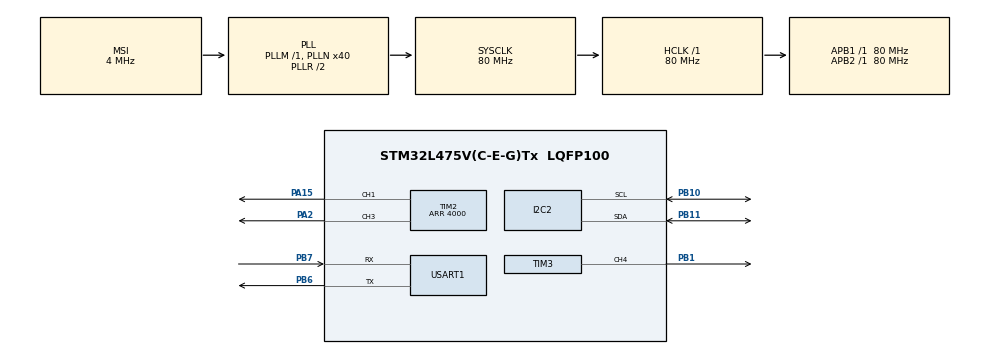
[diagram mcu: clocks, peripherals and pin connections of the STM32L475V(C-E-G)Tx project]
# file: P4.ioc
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I2C2.Timing=0x10909CEC
Mcu.Family=STM32L4
Mcu.Name=STM32L475V(C-E-G)Tx
Mcu.Package=LQFP100
NVIC.PriorityGroup=NVIC_PRIORITYGROUP_4
PA15\ (JTDI).Signal=S_TIM2_CH1
PA2.Signal=S_TIM2_CH3
PB1.Signal=S_TIM3_CH4
PB10.Mode=I2C
PB10.Signal=I2C2_SCL
PB11.Mode=I2C
PB11.Signal=I2C2_SDA
PB6.Mode=Asynchronous
PB6.Signal=USART1_TX
PB7.Mode=Asynchronous
PB7.Signal=USART1_RX
ProjectManager.HeapSize=0x200
ProjectManager.StackSize=0x400
ProjectManager.TargetToolchain=STM32CubeIDE
RCC.AHBFreq_Value=80000000
RCC.APB1Freq_Value=80000000
RCC.APB1TimFreq_Value=80000000
RCC.APB2Freq_Value=80000000
RCC.APB2TimFreq_Value=80000000
RCC.CortexFreq_Value=80000000
RCC.HCLKFreq_Value=80000000
RCC.HSE_VALUE=8000000
RCC.HSI_VALUE=16000000
RCC.LSE_VALUE=32768
RCC.MSI_VALUE=4000000
RCC.PLLN=40
RCC.SYSCLKFreq_VALUE=80000000
RCC.SYSCLKSource=RCC_SYSCLKSOURCE_PLLCLK
RCC.VCOOutputFreq_Value=160000000
SH.S_TIM2_CH1.0=TIM2_CH1,PWM Generation1 CH1
SH.S_TIM2_CH3.0=TIM2_CH3,PWM Generation3 CH3
SH.S_TIM3_CH4.0=TIM3_CH4,PWM Generation4 CH4
TIM2.Channel-PWM\ Generation1\ CH1=TIM_CHANNEL_1
TIM2.Channel-PWM\ Generation3\ CH3=TIM_CHANNEL_3
TIM2.Period=4000
TIM3.Channel-PWM\ Generation4\ CH4=TIM_CHANNEL_4
TIM3.Period=20000
TIM3.Prescaler=79
USART1.VirtualMode-Asynchronous=VM_ASYNC
board=custom

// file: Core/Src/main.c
/* USER CODE BEGIN Header */
/**
  ******************************************************************************
  * @file           : main.c
  * @brief          : Main program body
  ******************************************************************************
  * @attention
  *
  * <h2><center>&copy; Copyright (c) 2021 STMicroelectronics.
  * All rights reserved.</center></h2>
  *
  * This software component is licensed by ST under BSD 3-Clause license,
  * the "License"; You may not use this file except in compliance with the
  * License. You may obtain a copy of the License at:
  *                        opensource.org/licenses/BSD-3-Clause
  *
  ******************************************************************************
  */
/* USER CODE END Header */

#include "main.h"

/* USER CODE BEGIN PM */
int16_t readAccel(uint8_t axxis);
void setServoPos(float grados);
/* USER CODE END PM */

I2C_HandleTypeDef hi2c2;

TIM_HandleTypeDef htim2;
TIM_HandleTypeDef htim3;

UART_HandleTypeDef huart1;

void SystemClock_Config(void);
static void MX_GPIO_Init(void);
static void MX_I2C2_Init(void);
static void MX_TIM2_Init(void);
static void MX_TIM3_Init(void);
static void MX_USART1_UART_Init(void);

int main(void)
{

  /* MCU Configuration--------------------------------------------------------*/

  /* Reset of all peripherals, Initializes the Flash interface and the Systick. */
  HAL_Init();

  /* Configure the system clock */
  SystemClock_Config();

  /* Initialize all configured peripherals */
  MX_GPIO_Init();
  MX_I2C2_Init();
  MX_TIM2_Init();
  MX_TIM3_Init();
  MX_USART1_UART_Init();
  /* USER CODE BEGIN 2 */
  HAL_TIM_PWM_Start (&htim2, TIM_CHANNEL_1);
  HAL_TIM_PWM_Start (&htim2, TIM_CHANNEL_3);
  HAL_TIM_PWM_Start (&htim3, TIM_CHANNEL_4);
  initAccelerometer();
  /* USER CODE END 2 */

  /* Infinite loop */
  while (1)
  {

    /* USER CODE BEGIN 3 */
	  //Fase 1 Prueba inicial
	  uint16_t th;
//	  for(th = 0; th < 4000; th+= 100){
//	  	__HAL_TIM_SET_COMPARE(&htim2, TIM_CHANNEL_1, th);
//	  	HAL_Delay(200);
//	  }

	  //Fase 1 Funcion setMotorSpeed()
	  int16_t speed;
//	  for(speed = 0; speed < 4000; speed+= 100){
//		 setMotorSpeed(speed);
//		 HAL_Delay(200);
//	  }
//	  for(speed = 4000; speed > 0; speed-= 100){
//		 setMotorSpeed(speed);
//		 HAL_Delay(200);
//	  }
//	  for(speed = 0; speed > -4000; speed-= 100){
//		 setMotorSpeed(speed);
//		 HAL_Delay(200);
//	  }
//	  for(speed = -4000; speed < 0; speed+= 100){
//		 setMotorSpeed(speed);
//		 HAL_Delay(200);
//	 }

	 //Fase 2 Acelerometro motor
//	 speed = readAccel(1);
//	 setMotorSpeed(speed*4);
//	 HAL_Delay(100);

	 //Fase 3 Prueba servo
	  uint16_t servo;
//	  for(servo=500; servo<=2500; servo+=250){
//		  __HAL_TIM_SET_COMPARE(&htim3, TIM_CHANNEL_4, servo);
//		  HAL_Delay(500);
//	  }

	 //Fase 3 Funcion setServoPos()
	  float grados;
//	  for(grados=0; grados<180; grados+=10){
//		  setServoPos(grados);
//		  HAL_Delay(500);
//	  }

	  //Fase 3 Acelerometro servo
	  grados = readAccel(0);
	  setServoPos(((grados + 1000)*180.0f)/2000);
	  HAL_Delay(100);

  }

  /* USER CODE END 3 */
}

void SystemClock_Config(void)
{
  RCC_OscInitTypeDef RCC_OscInitStruct = {0};
  RCC_ClkInitTypeDef RCC_ClkInitStruct = {0};
  RCC_PeriphCLKInitTypeDef PeriphClkInit = {0};

  /** Initializes the CPU, AHB and APB busses clocks
  */
  RCC_OscInitStruct.OscillatorType = RCC_OSCILLATORTYPE_MSI;
  RCC_OscInitStruct.MSIState = RCC_MSI_ON;
  RCC_OscInitStruct.MSICalibrationValue = 0;
  RCC_OscInitStruct.MSIClockRange = RCC_MSIRANGE_6;
  RCC_OscInitStruct.PLL.PLLState = RCC_PLL_ON;
  RCC_OscInitStruct.PLL.PLLSource = RCC_PLLSOURCE_MSI;
  RCC_OscInitStruct.PLL.PLLM = 1;
  RCC_OscInitStruct.PLL.PLLN = 40;
  RCC_OscInitStruct.PLL.PLLP = RCC_PLLP_DIV7;
  RCC_OscInitStruct.PLL.PLLQ = RCC_PLLQ_DIV2;
  RCC_OscInitStruct.PLL.PLLR = RCC_PLLR_DIV2;
  if (HAL_RCC_OscConfig(&RCC_OscInitStruct) != HAL_OK)
  {
    Error_Handler();
  }
  /** Initializes the CPU, AHB and APB busses clocks
  */
  RCC_ClkInitStruct.ClockType = RCC_CLOCKTYPE_HCLK|RCC_CLOCKTYPE_SYSCLK
                              |RCC_CLOCKTYPE_PCLK1|RCC_CLOCKTYPE_PCLK2;
  RCC_ClkInitStruct.SYSCLKSource = RCC_SYSCLKSOURCE_PLLCLK;
  RCC_ClkInitStruct.AHBCLKDivider = RCC_SYSCLK_DIV1;
  RCC_ClkInitStruct.APB1CLKDivider = RCC_HCLK_DIV1;
  RCC_ClkInitStruct.APB2CLKDivider = RCC_HCLK_DIV1;

  if (HAL_RCC_ClockConfig(&RCC_ClkInitStruct, FLASH_LATENCY_4) != HAL_OK)
  {
    Error_Handler();
  }
  PeriphClkInit.PeriphClockSelection = RCC_PERIPHCLK_USART1|RCC_PERIPHCLK_I2C2;
  PeriphClkInit.Usart1ClockSelection = RCC_USART1CLKSOURCE_PCLK2;
  PeriphClkInit.I2c2ClockSelection = RCC_I2C2CLKSOURCE_PCLK1;
  if (HAL_RCCEx_PeriphCLKConfig(&PeriphClkInit) != HAL_OK)
  {
    Error_Handler();
  }
  /** Configure the main internal regulator output voltage
  */
  if (HAL_PWREx_ControlVoltageScaling(PWR_REGULATOR_VOLTAGE_SCALE1) != HAL_OK)
  {
    Error_Handler();
  }
}

static void MX_I2C2_Init(void)
{

  hi2c2.Instance = I2C2;
  hi2c2.Init.Timing = 0x10909CEC;
  hi2c2.Init.OwnAddress1 = 0;
  hi2c2.Init.AddressingMode = I2C_ADDRESSINGMODE_7BIT;
  hi2c2.Init.DualAddressMode = I2C_DUALADDRESS_DISABLE;
  hi2c2.Init.OwnAddress2 = 0;
  hi2c2.Init.OwnAddress2Masks = I2C_OA2_NOMASK;
  hi2c2.Init.GeneralCallMode = I2C_GENERALCALL_DISABLE;
  hi2c2.Init.NoStretchMode = I2C_NOSTRETCH_DISABLE;
  if (HAL_I2C_Init(&hi2c2) != HAL_OK)
  {
    Error_Handler();
  }
  /** Configure Analogue filter
  */
  if (HAL_I2CEx_ConfigAnalogFilter(&hi2c2, I2C_ANALOGFILTER_ENABLE) != HAL_OK)
  {
    Error_Handler();
  }
  /** Configure Digital filter
  */
  if (HAL_I2CEx_ConfigDigitalFilter(&hi2c2, 0) != HAL_OK)
  {
    Error_Handler();
  }

}

static void MX_TIM2_Init(void)
{

  TIM_MasterConfigTypeDef sMasterConfig = {0};
  TIM_OC_InitTypeDef sConfigOC = {0};

  htim2.Instance = TIM2;
  htim2.Init.Prescaler = 0;
  htim2.Init.CounterMode = TIM_COUNTERMODE_UP;
  htim2.Init.Period = 4000;
  htim2.Init.ClockDivision = TIM_CLOCKDIVISION_DIV1;
  htim2.Init.AutoReloadPreload = TIM_AUTORELOAD_PRELOAD_DISABLE;
  if (HAL_TIM_PWM_Init(&htim2) != HAL_OK)
  {
    Error_Handler();
  }
  sMasterConfig.MasterOutputTrigger = TIM_TRGO_RESET;
  sMasterConfig.MasterSlaveMode = TIM_MASTERSLAVEMODE_DISABLE;
  if (HAL_TIMEx_MasterConfigSynchronization(&htim2, &sMasterConfig) != HAL_OK)
  {
    Error_Handler();
  }
  sConfigOC.OCMode = TIM_OCMODE_PWM1;
  sConfigOC.Pulse = 0;
  sConfigOC.OCPolarity = TIM_OCPOLARITY_HIGH;
  sConfigOC.OCFastMode = TIM_OCFAST_DISABLE;
  if (HAL_TIM_PWM_ConfigChannel(&htim2, &sConfigOC, TIM_CHANNEL_1) != HAL_OK)
  {
    Error_Handler();
  }
  if (HAL_TIM_PWM_ConfigChannel(&htim2, &sConfigOC, TIM_CHANNEL_3) != HAL_OK)
  {
    Error_Handler();
  }
  HAL_TIM_MspPostInit(&htim2);

}

static void MX_TIM3_Init(void)
{

  TIM_MasterConfigTypeDef sMasterConfig = {0};
  TIM_OC_InitTypeDef sConfigOC = {0};

  htim3.Instance = TIM3;
  htim3.Init.Prescaler = 79;
  htim3.Init.CounterMode = TIM_COUNTERMODE_UP;
  htim3.Init.Period = 20000;
  htim3.Init.ClockDivision = TIM_CLOCKDIVISION_DIV1;
  htim3.Init.AutoReloadPreload = TIM_AUTORELOAD_PRELOAD_DISABLE;
  if (HAL_TIM_PWM_Init(&htim3) != HAL_OK)
  {
    Error_Handler();
  }
  sMasterConfig.MasterOutputTrigger = TIM_TRGO_RESET;
  sMasterConfig.MasterSlaveMode = TIM_MASTERSLAVEMODE_DISABLE;
  if (HAL_TIMEx_MasterConfigSynchronization(&htim3, &sMasterConfig) != HAL_OK)
  {
    Error_Handler();
  }
  sConfigOC.OCMode = TIM_OCMODE_PWM1;
  sConfigOC.Pulse = 0;
  sConfigOC.OCPolarity = TIM_OCPOLARITY_HIGH;
  sConfigOC.OCFastMode = TIM_OCFAST_DISABLE;
  if (HAL_TIM_PWM_ConfigChannel(&htim3, &sConfigOC, TIM_CHANNEL_4) != HAL_OK)
  {
    Error_Handler();
  }
  HAL_TIM_MspPostInit(&htim3);

}

static void MX_USART1_UART_Init(void)
{

  huart1.Instance = USART1;
  huart1.Init.BaudRate = 115200;
  huart1.Init.WordLength = UART_WORDLENGTH_8B;
  huart1.Init.StopBits = UART_STOPBITS_1;
  huart1.Init.Parity = UART_PARITY_NONE;
  huart1.Init.Mode = UART_MODE_TX_RX;
  huart1.Init.HwFlowCtl = UART_HWCONTROL_NONE;
  huart1.Init.OverSampling = UART_OVERSAMPLING_16;
  huart1.Init.OneBitSampling = UART_ONE_BIT_SAMPLE_DISABLE;
  huart1.AdvancedInit.AdvFeatureInit = UART_ADVFEATURE_NO_INIT;
  if (HAL_UART_Init(&huart1) != HAL_OK)
  {
    Error_Handler();
  }

}

static void MX_GPIO_Init(void)
{

  /* GPIO Ports Clock Enable */
  __HAL_RCC_GPIOA_CLK_ENABLE();
  __HAL_RCC_GPIOB_CLK_ENABLE();

}

/* USER CODE BEGIN 4 */
void setMotorSpeed(int16_t speed){
	if(speed > 0){
		__HAL_TIM_SET_COMPARE(&htim2, TIM_CHANNEL_1, speed);
		__HAL_TIM_SET_COMPARE(&htim2, TIM_CHANNEL_3, 0);
	}else{
		__HAL_TIM_SET_COMPARE(&htim2, TIM_CHANNEL_1, 0);
		__HAL_TIM_SET_COMPARE(&htim2, TIM_CHANNEL_3, -speed);
	}
}

void initAccelerometer(void){
	uint8_t buffer[1];
	buffer[0] = 0x40;
	HAL_I2C_Mem_Write(&hi2c2, 0xD4, 0x10, I2C_MEMADD_SIZE_8BIT, buffer, 1, 1000);
}

int16_t readAccel(uint8_t axxis){
	int16_t accel;
	uint8_t buffer[2];
	HAL_I2C_Mem_Read(&hi2c2, 0xD4, 0x28+(2*axxis), I2C_MEMADD_SIZE_8BIT, buffer, 2, 1000);
	accel = ((int16_t) (buffer[1]<<8) | buffer[0])*0.061;
	return accel;
}

void setServoPos(float grados){
	uint16_t timer = ((grados*2000)/180)+500;
	__HAL_TIM_SET_COMPARE(&htim3, TIM_CHANNEL_4, timer);
}

//void setServoPos(float grados){
//       uint16_t th;
//       th = 500 + (grados/180.0f)*2000;
//       __HAL_TIM_SET_COMPARE(&htim3, TIM_CHANNEL_4, th);
//}

/* USER CODE END 4 */

void Error_Handler(void)
{
}

/************************ (C) COPYRIGHT STMicroelectronics *****END OF FILE****/
